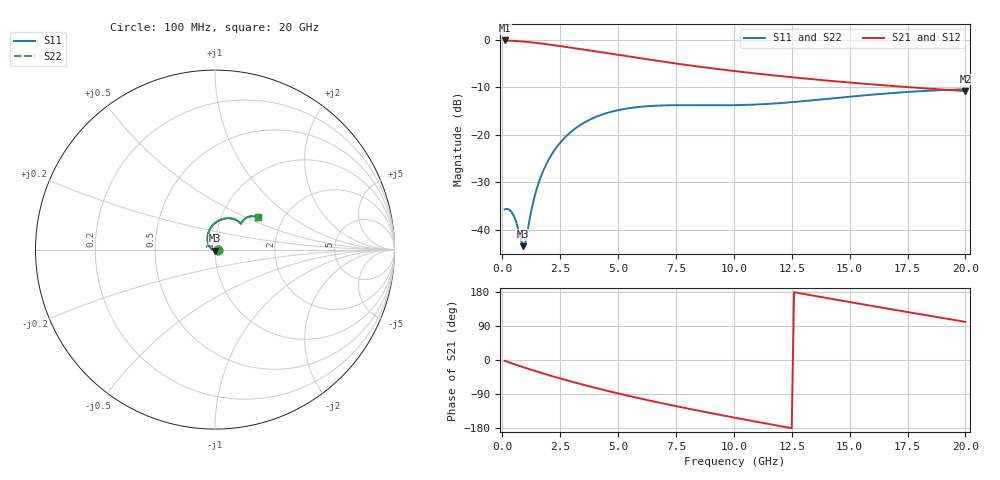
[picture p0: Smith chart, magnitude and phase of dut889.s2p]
! Touchstone file exported from HFSS 2024.1.0
!  File:  C:/UserFiles/LocalFiles/RDL_TSV_Batchsim/temp_RDL_TSV_889_1779931773.aedt
!  Generated:  09:47:59 AM May 28, 2026
!  Design:  RDL_TSV
!  Project:  temp_RDL_TSV_889_1779931773
!  Setup:  Setup1
!  Solution:  Sweep
! Variables:
!  dtsv = 10.59um
!  hbump = 3um
!  htsv = 86.41um
!  ldown = 420.13um
!  lrdl = 638.84um
!  p = 40
!  p1 = 41.63um
!  rhole = 10um
!  subl = 3815.75um
!  t = 450um
!  tdown = 3.12um
!  trdl = 4.41um
!  viad = 10um
!  wdown = 23.46um
!  wrdl = 21.66um
!  xbump = 18um
# GHz S MA R 50.000000
! Terminal data exported
! Port[1] = TM1_1_T1
! Port[2] = TM1_4_T1
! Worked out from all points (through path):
!   200 points, 100 MHz to 20 GHz, reference 50 ohm
!   highest |S21| = -0.15 dB at 100 MHz (marker M1); lowest = -10.8 dB at 20 GHz (marker M2)
!   group delay of S21, straight-line fit = 34.3 ps
!   lowest |S11| = -43.5 dB at 900 MHz (marker M3), VSWR 1.01, Z = 49.9 - j0.66 ohm
!   |S11| at or under -10 dB: start of sweep to end of sweep
!   |S22| runs from -43.5 to -10.4 dB; largest |S21 - S12| = 1.1e-14
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0.1  0.01632 -1.5  0.9831 -2.2  0.9831 -2.2  0.01632 -1.5
! Gamma 0 0 0 0
! Port Impedance 50 0 50 0
0.3  0.01628 -10.6  0.9788 -6.5  0.9788 -6.5  0.01628 -10.6
0.5  0.01392 -25.4  0.973 -10.7  0.973 -10.7  0.01393 -25.4
0.6  0.01203 -35.2  0.9697 -12.7  0.9697 -12.7  0.01205 -35.2
0.9  0.006694 -98.7  0.9572 -18.8  0.9572 -18.8  0.006697 -98.3
1  0.007391 -134.1  0.9524 -20.8  0.9524 -20.8  0.007366 -133.7
1.2  0.01361 -176.4  0.9418 -24.8  0.9418 -24.8  0.01354 -176.3
1.4  0.02254 164.6  0.9302 -28.7  0.9302 -28.7  0.02244 164.7
1.6  0.03261 152.7  0.9179 -32.5  0.9179 -32.5  0.03249 152.8
1.9  0.04885 139.8  0.8984 -38.1  0.8984 -38.1  0.04868 139.8
2.2  0.06565 129.5  0.8781 -43.5  0.8781 -43.5  0.06542 129.5
2.6  0.08782 117.9  0.8506 -50.5  0.8506 -50.5  0.08753 117.9
3.5  0.1324 97.2  0.7889 -65.4  0.7889 -65.4  0.1319 97.2
4.3  0.1626 82.9  0.7363 -77.8  0.7363 -77.8  0.162 82.9
5.2  0.1854 70.3  0.6808 -91.0  0.6808 -91.0  0.1847 70.3
6.8  0.2028 55.0  0.5944 -112.8  0.5944 -112.8  0.2019 55.0
8.4  0.2044 47.2  0.5244 -132.9  0.5244 -132.9  0.2035 47.3
10.1  0.2047 44.9  0.4656 -153.0  0.4656 -153.0  0.2039 45.0
11.7  0.2126 45.5  0.4217 -171.1  0.4217 -171.1  0.2119 45.7
13.4  0.2302 46.1  0.3838 170.2  0.3838 170.2  0.2297 46.2
16.7  0.273 42.8  0.3279 134.9  0.3279 134.9  0.2727 42.9
20  0.3011 36.5  0.2882 100.6  0.2882 100.6  0.3008 36.5
